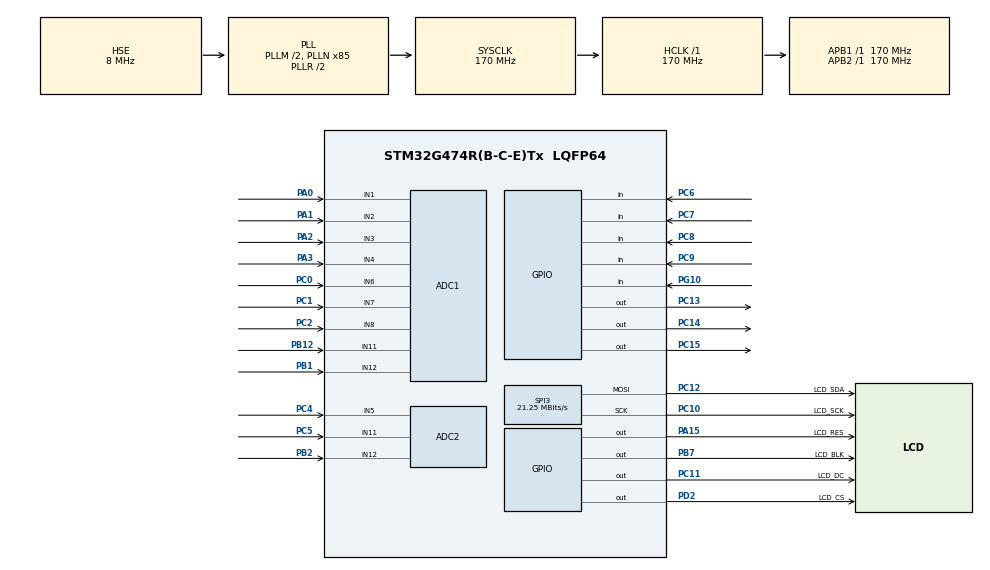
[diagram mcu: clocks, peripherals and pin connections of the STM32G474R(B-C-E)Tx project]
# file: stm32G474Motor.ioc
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ADC1.Channel-0\#ChannelRegularConversion=ADC_CHANNEL_1
ADC1.Channel-1\#ChannelRegularConversion=ADC_CHANNEL_2
ADC1.Channel-2\#ChannelRegularConversion=ADC_CHANNEL_3
ADC1.Channel-3\#ChannelRegularConversion=ADC_CHANNEL_4
ADC1.Channel-4\#ChannelRegularConversion=ADC_CHANNEL_6
ADC1.Channel-5\#ChannelRegularConversion=ADC_CHANNEL_7
ADC1.Channel-6\#ChannelRegularConversion=ADC_CHANNEL_8
ADC1.Channel-7\#ChannelRegularConversion=ADC_CHANNEL_11
ADC1.Channel-8\#ChannelRegularConversion=ADC_CHANNEL_12
ADC1.ClockPrescaler=ADC_CLOCK_ASYNC_DIV4
ADC1.ContinuousConvMode=ENABLE
ADC1.DMAContinuousRequests=ENABLE
ADC1.LowPowerAutoWait=DISABLE
ADC1.NbrOfConversion=9
ADC1.NbrOfConversionFlag=1
ADC1.OffsetNumber-0\#ChannelRegularConversion=ADC_OFFSET_NONE
ADC1.OffsetNumber-1\#ChannelRegularConversion=ADC_OFFSET_NONE
ADC1.OffsetNumber-2\#ChannelRegularConversion=ADC_OFFSET_NONE
ADC1.OffsetNumber-3\#ChannelRegularConversion=ADC_OFFSET_NONE
ADC1.OffsetNumber-4\#ChannelRegularConversion=ADC_OFFSET_NONE
ADC1.OffsetNumber-5\#ChannelRegularConversion=ADC_OFFSET_NONE
ADC1.OffsetNumber-6\#ChannelRegularConversion=ADC_OFFSET_NONE
ADC1.OffsetNumber-7\#ChannelRegularConversion=ADC_OFFSET_NONE
ADC1.OffsetNumber-8\#ChannelRegularConversion=ADC_OFFSET_NONE
ADC1.Rank-0\#ChannelRegularConversion=1
ADC1.Rank-1\#ChannelRegularConversion=2
ADC1.Rank-2\#ChannelRegularConversion=3
ADC1.Rank-3\#ChannelRegularConversion=4
ADC1.Rank-4\#ChannelRegularConversion=5
ADC1.Rank-5\#ChannelRegularConversion=6
ADC1.Rank-6\#ChannelRegularConversion=7
ADC1.Rank-7\#ChannelRegularConversion=8
ADC1.Rank-8\#ChannelRegularConversion=9
ADC1.SamplingTime-0\#ChannelRegularConversion=ADC_SAMPLETIME_47CYCLES_5
ADC1.SamplingTime-1\#ChannelRegularConversion=ADC_SAMPLETIME_47CYCLES_5
ADC1.SamplingTime-2\#ChannelRegularConversion=ADC_SAMPLETIME_47CYCLES_5
ADC1.SamplingTime-3\#ChannelRegularConversion=ADC_SAMPLETIME_47CYCLES_5
ADC1.SamplingTime-4\#ChannelRegularConversion=ADC_SAMPLETIME_47CYCLES_5
ADC1.SamplingTime-5\#ChannelRegularConversion=ADC_SAMPLETIME_47CYCLES_5
ADC1.SamplingTime-6\#ChannelRegularConversion=ADC_SAMPLETIME_47CYCLES_5
ADC1.SamplingTime-7\#ChannelRegularConversion=ADC_SAMPLETIME_47CYCLES_5
ADC1.SamplingTime-8\#ChannelRegularConversion=ADC_SAMPLETIME_47CYCLES_5
ADC1.master=1
ADC2.Channel-0\#ChannelRegularConversion=ADC_CHANNEL_11
ADC2.Channel-1\#ChannelRegularConversion=ADC_CHANNEL_5
ADC2.Channel-2\#ChannelRegularConversion=ADC_CHANNEL_12
ADC2.ClockPrescaler=ADC_CLOCK_ASYNC_DIV4
ADC2.ContinuousConvMode=ENABLE
ADC2.DMAContinuousRequests=ENABLE
ADC2.NbrOfConversion=3
ADC2.NbrOfConversionFlag=1
ADC2.OffsetNumber-0\#ChannelRegularConversion=ADC_OFFSET_NONE
ADC2.OffsetNumber-1\#ChannelRegularConversion=ADC_OFFSET_NONE
ADC2.OffsetNumber-2\#ChannelRegularConversion=ADC_OFFSET_NONE
ADC2.Rank-0\#ChannelRegularConversion=1
ADC2.Rank-1\#ChannelRegularConversion=2
ADC2.Rank-2\#ChannelRegularConversion=3
ADC2.SamplingTime-0\#ChannelRegularConversion=ADC_SAMPLETIME_47CYCLES_5
ADC2.SamplingTime-1\#ChannelRegularConversion=ADC_SAMPLETIME_47CYCLES_5
ADC2.SamplingTime-2\#ChannelRegularConversion=ADC_SAMPLETIME_47CYCLES_5
Dma.ADC1.0.Direction=DMA_PERIPH_TO_MEMORY
Dma.ADC1.0.EventEnable=DISABLE
Dma.ADC1.0.Instance=DMA1_Channel2
Dma.ADC1.0.MemDataAlignment=DMA_MDATAALIGN_HALFWORD
Dma.ADC1.0.MemInc=DMA_MINC_ENABLE
Dma.ADC1.0.Mode=DMA_CIRCULAR
Dma.ADC1.0.PeriphDataAlignment=DMA_PDATAALIGN_HALFWORD
Dma.ADC1.0.PeriphInc=DMA_PINC_DISABLE
Dma.ADC1.0.Polarity=HAL_DMAMUX_REQ_GEN_RISING
Dma.ADC1.0.Priority=DMA_PRIORITY_LOW
Dma.ADC1.0.RequestNumber=1
Dma.ADC1.0.SignalID=NONE
Dma.ADC1.0.SyncEnable=DISABLE
Dma.ADC1.0.SyncPolarity=HAL_DMAMUX_SYNC_NO_EVENT
Dma.ADC1.0.SyncRequestNumber=1
Dma.ADC1.0.SyncSignalID=NONE
Dma.ADC2.1.Direction=DMA_PERIPH_TO_MEMORY
Dma.ADC2.1.EventEnable=DISABLE
Dma.ADC2.1.Instance=DMA1_Channel1
Dma.ADC2.1.MemDataAlignment=DMA_MDATAALIGN_HALFWORD
Dma.ADC2.1.MemInc=DMA_MINC_ENABLE
Dma.ADC2.1.Mode=DMA_CIRCULAR
Dma.ADC2.1.PeriphDataAlignment=DMA_PDATAALIGN_HALFWORD
Dma.ADC2.1.PeriphInc=DMA_PINC_DISABLE
Dma.ADC2.1.Polarity=HAL_DMAMUX_REQ_GEN_RISING
Dma.ADC2.1.Priority=DMA_PRIORITY_LOW
Dma.ADC2.1.RequestNumber=1
Dma.ADC2.1.SignalID=NONE
Dma.ADC2.1.SyncEnable=DISABLE
Dma.ADC2.1.SyncPolarity=HAL_DMAMUX_SYNC_NO_EVENT
Dma.ADC2.1.SyncRequestNumber=1
Dma.ADC2.1.SyncSignalID=NONE
Dma.Request0=ADC1
Dma.Request1=ADC2
Mcu.Family=STM32G4
Mcu.Name=STM32G474R(B-C-E)Tx
Mcu.Package=LQFP64
NVIC.DMA1_Channel1_IRQn=true\:0\:0\:false\:false\:true\:false\:true\:true
NVIC.DMA1_Channel2_IRQn=true\:0\:0\:false\:false\:true\:false\:true\:true
NVIC.PriorityGroup=NVIC_PRIORITYGROUP_4
PA0.Mode=IN1-Single-Ended
PA0.Signal=ADC1_IN1
PA1.Mode=IN2-Single-Ended
PA1.Signal=ADC1_IN2
PA13.Mode=Serial_Wire
PA13.Signal=SYS_JTMS-SWDIO
PA14.Mode=Serial_Wire
PA14.Signal=SYS_JTCK-SWCLK
PA15.GPIO_Label=LCD_RES
PA15.Signal=GPIO_Output
PA2.Mode=IN3-Single-Ended
PA2.Signal=ADC1_IN3
PA3.Mode=IN4-Single-Ended
PA3.Signal=ADC1_IN4
PB1.Mode=IN12-Single-Ended
PB1.Signal=ADC1_IN12
PB12.Mode=IN11-Single-Ended
PB12.Signal=ADC1_IN11
PB2.Mode=IN12-Single-Ended
PB2.Signal=ADC2_IN12
PB7.GPIO_Label=LCD_BLK
PB7.Signal=GPIO_Output
PC0.Mode=IN6-Single-Ended
PC0.Signal=ADC1_IN6
PC1.Mode=IN7-Single-Ended
PC1.Signal=ADC1_IN7
PC10.GPIO_Label=LCD_SCK
PC10.Mode=TX_Only_Simplex_Unidirect_Master
PC10.Signal=SPI3_SCK
PC11.GPIO_Label=LCD_DC
PC11.Signal=GPIO_Output
PC12.GPIO_Label=LCD_SDA
PC12.Mode=TX_Only_Simplex_Unidirect_Master
PC12.Signal=SPI3_MOSI
PC13.Signal=GPIO_Output
PC14-OSC32_IN.Signal=GPIO_Output
PC15-OSC32_OUT.Signal=GPIO_Output
PC2.Mode=IN8-Single-Ended
PC2.Signal=ADC1_IN8
PC4.Mode=IN5-Single-Ended
PC4.Signal=ADC2_IN5
PC5.Mode=IN11-Single-Ended
PC5.Signal=ADC2_IN11
PC6.Signal=GPIO_Input
PC7.Signal=GPIO_Input
PC8.Signal=GPIO_Input
PC9.Signal=GPIO_Input
PD2.GPIO_Label=LCD_CS
PD2.Signal=GPIO_Output
PF0-OSC_IN.Mode=HSE-External-Oscillator
PF0-OSC_IN.Signal=RCC_OSC_IN
PF1-OSC_OUT.Mode=HSE-External-Oscillator
PF1-OSC_OUT.Signal=RCC_OSC_OUT
PG10-NRST.Signal=GPIO_Input
ProjectManager.HeapSize=0x200
ProjectManager.StackSize=0x400
ProjectManager.TargetToolchain=MDK-ARM V5.32
RCC.ADC12Freq_Value=170000000
RCC.ADC345Freq_Value=170000000
RCC.AHBFreq_Value=170000000
RCC.APB1Freq_Value=170000000
RCC.APB1TimFreq_Value=170000000
RCC.APB2Freq_Value=170000000
RCC.APB2TimFreq_Value=170000000
RCC.CortexFreq_Value=170000000
RCC.EXTERNAL_CLOCK_VALUE=12288000
RCC.HCLKFreq_Value=170000000
RCC.HSE_VALUE=8000000
RCC.HSI48_VALUE=48000000
RCC.HSI_VALUE=16000000
RCC.LSE_VALUE=32768
RCC.PLLM=RCC_PLLM_DIV2
RCC.PLLN=85
RCC.PLLSourceVirtual=RCC_PLLSOURCE_HSE
RCC.SYSCLKFreq_VALUE=170000000
RCC.SYSCLKSource=RCC_SYSCLKSOURCE_PLLCLK
RCC.USBFreq_Value=170000000
RCC.VCOOutputFreq_Value=340000000
SPI3.BaudRatePrescaler=SPI_BAUDRATEPRESCALER_8
SPI3.CLKPolarity=SPI_POLARITY_HIGH
SPI3.CalculateBaudRate=21.25 MBits/s
SPI3.DataSize=SPI_DATASIZE_8BIT
SPI3.Direction=SPI_DIRECTION_2LINES
SPI3.Mode=SPI_MODE_MASTER
SPI3.VirtualType=VM_MASTER
VP_SYS_VS_DBSignals.Mode=DisableDeadBatterySignals
board=custom

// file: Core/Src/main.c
/* USER CODE BEGIN Header */
/**
  ******************************************************************************
  * @file           : main.c
  * @brief          : Main program body
  ******************************************************************************
  * @attention
  *
  * Copyright (c) 2024 STMicroelectronics.
  * All rights reserved.
  *
  * This software is licensed under terms that can be found in the LICENSE file
  * in the root directory of this software component.
  * If no LICENSE file comes with this software, it is provided AS-IS.
  *
  ******************************************************************************
  */
/* USER CODE END Header */
#include "main.h"
#include "adc.h"
#include "dma.h"
#include "spi.h"
#include "gpio.h"

void SystemClock_Config(void);

/* USER CODE BEGIN 0 */
	uint16_t adc3_dma_value[5][5];
	uint16_t result[15];
/* USER CODE END 0 */

int main(void)
{

  /* MCU Configuration--------------------------------------------------------*/

  /* Reset of all peripherals, Initializes the Flash interface and the Systick. */
  HAL_Init();

  /* Configure the system clock */
  SystemClock_Config();

  /* Initialize all configured peripherals */
  MX_GPIO_Init();
  MX_DMA_Init();
  MX_ADC1_Init();
  MX_ADC2_Init();
  MX_SPI3_Init();
  /* USER CODE BEGIN 2 */
  app_MainInit();
  /* USER CODE END 2 */

  /* Infinite loop */
  /* USER CODE BEGIN WHILE */
  while (1)
  {
		OS_TaskStart();
		result[0] = adc1_median_filter(adc1_ch1);
		result[1] = adc1_median_filter(adc1_ch2);
		result[2] = adc1_median_filter(adc1_ch3);
		result[3] = adc1_median_filter(adc1_ch4);
		result[4] = adc1_median_filter(adc1_ch5);
    result[5] = adc1_median_filter(adc1_ch6);
    result[6] = adc1_median_filter(adc1_ch7);
    result[7] = adc1_median_filter(adc1_ch8);
    result[8] = adc1_median_filter(adc1_ch9);

		result[9] = adc2_median_filter(adc2_ch1);
		result[10] = adc2_median_filter(adc2_ch2);
    result[11] = adc2_median_filter(adc2_ch3);

    /* USER CODE END WHILE */

  }
}

void SystemClock_Config(void)
{
  RCC_OscInitTypeDef RCC_OscInitStruct = {0};
  RCC_ClkInitTypeDef RCC_ClkInitStruct = {0};

  /** Configure the main internal regulator output voltage
  */
  HAL_PWREx_ControlVoltageScaling(PWR_REGULATOR_VOLTAGE_SCALE1_BOOST);

  /** Initializes the RCC Oscillators according to the specified parameters
  * in the RCC_OscInitTypeDef structure.
  */
  RCC_OscInitStruct.OscillatorType = RCC_OSCILLATORTYPE_HSE;
  RCC_OscInitStruct.HSEState = RCC_HSE_ON;
  RCC_OscInitStruct.PLL.PLLState = RCC_PLL_ON;
  RCC_OscInitStruct.PLL.PLLSource = RCC_PLLSOURCE_HSE;
  RCC_OscInitStruct.PLL.PLLM = RCC_PLLM_DIV2;
  RCC_OscInitStruct.PLL.PLLN = 85;
  RCC_OscInitStruct.PLL.PLLP = RCC_PLLP_DIV2;
  RCC_OscInitStruct.PLL.PLLQ = RCC_PLLQ_DIV2;
  RCC_OscInitStruct.PLL.PLLR = RCC_PLLR_DIV2;
  if (HAL_RCC_OscConfig(&RCC_OscInitStruct) != HAL_OK)
  {
    Error_Handler();
  }

  /** Initializes the CPU, AHB and APB buses clocks
  */
  RCC_ClkInitStruct.ClockType = RCC_CLOCKTYPE_HCLK|RCC_CLOCKTYPE_SYSCLK
                              |RCC_CLOCKTYPE_PCLK1|RCC_CLOCKTYPE_PCLK2;
  RCC_ClkInitStruct.SYSCLKSource = RCC_SYSCLKSOURCE_PLLCLK;
  RCC_ClkInitStruct.AHBCLKDivider = RCC_SYSCLK_DIV1;
  RCC_ClkInitStruct.APB1CLKDivider = RCC_HCLK_DIV1;
  RCC_ClkInitStruct.APB2CLKDivider = RCC_HCLK_DIV1;

  if (HAL_RCC_ClockConfig(&RCC_ClkInitStruct, FLASH_LATENCY_4) != HAL_OK)
  {
    Error_Handler();
  }
}

void Error_Handler(void)
{
  __disable_irq();
  while (1)
  {
  }
}
